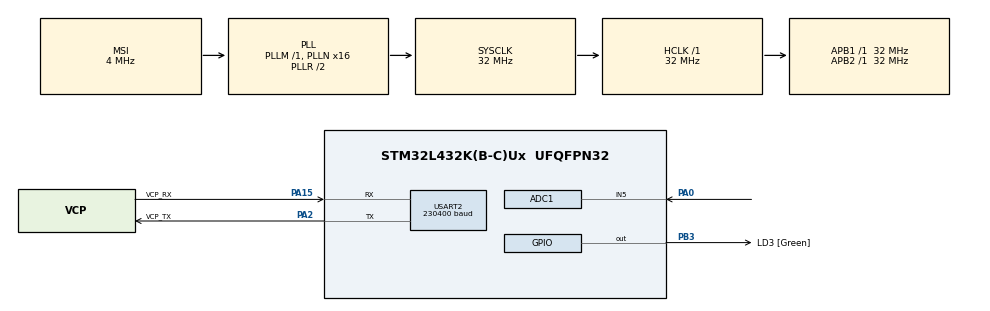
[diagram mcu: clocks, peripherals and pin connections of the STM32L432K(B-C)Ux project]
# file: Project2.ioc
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ADC1.Channel-0\#ChannelRegularConversion=ADC_CHANNEL_5
ADC1.NbrOfConversionFlag=1
ADC1.OffsetNumber-0\#ChannelRegularConversion=ADC_OFFSET_NONE
ADC1.Rank-0\#ChannelRegularConversion=1
ADC1.SamplingTime-0\#ChannelRegularConversion=ADC_SAMPLETIME_2CYCLES_5
ADC1.master=1
Mcu.Family=STM32L4
Mcu.Name=STM32L432K(B-C)Ux
Mcu.Package=UFQFPN32
NVIC.PriorityGroup=NVIC_PRIORITYGROUP_4
NVIC.TIM7_IRQn=true\:0\:0\:false\:false\:true\:true\:true\:true
PA0.Signal=ADCx_IN5
PA13\ (JTMS-SWDIO).GPIO_Label=SWDIO
PA13\ (JTMS-SWDIO).Mode=Serial_Wire
PA13\ (JTMS-SWDIO).Signal=SYS_JTMS-SWDIO
PA14\ (JTCK-SWCLK).GPIO_Label=SWCLK
PA14\ (JTCK-SWCLK).Mode=Serial_Wire
PA14\ (JTCK-SWCLK).Signal=SYS_JTCK-SWCLK
PA15\ (JTDI).GPIO_Label=VCP_RX
PA15\ (JTDI).Mode=Asynchronous
PA15\ (JTDI).Signal=USART2_RX
PA2.GPIO_Label=VCP_TX
PA2.Mode=Asynchronous
PA2.Signal=USART2_TX
PB3\ (JTDO-TRACESWO).GPIO_Label=LD3 [Green]
PB3\ (JTDO-TRACESWO).Signal=GPIO_Output
PC14-OSC32_IN\ (PC14).Mode=LSE-External-Oscillator
PC14-OSC32_IN\ (PC14).Signal=RCC_OSC32_IN
PC15-OSC32_OUT\ (PC15).Mode=LSE-External-Oscillator
PC15-OSC32_OUT\ (PC15).Signal=RCC_OSC32_OUT
ProjectManager.HeapSize=0x200
ProjectManager.StackSize=0x400
ProjectManager.TargetToolchain=STM32CubeIDE
RCC.ADCFreq_Value=32000000
RCC.AHBFreq_Value=32000000
RCC.APB1Freq_Value=32000000
RCC.APB1TimFreq_Value=32000000
RCC.APB2Freq_Value=32000000
RCC.APB2TimFreq_Value=32000000
RCC.CortexFreq_Value=32000000
RCC.HCLKFreq_Value=32000000
RCC.HSE_VALUE=8000000
RCC.HSI16_VALUE=16000000
RCC.HSI48_VALUE=48000000
RCC.HSI_VALUE=16000000
RCC.MSI_VALUE=4000000
RCC.PLLMUL=RCC_PLLMUL_4
RCC.PLLN=16
RCC.PLLSAI1N=16
RCC.SYSCLKFreq_VALUE=32000000
RCC.SYSCLKSource=RCC_SYSCLKSOURCE_PLLCLK
RCC.USBFreq_Value=32000000
RCC.VCOOutputFreq_Value=64000000
SH.ADCx_IN5.0=ADC1_IN5,IN5-Single-Ended
TIM7.Period=100 - 1
TIM7.Prescaler=32 - 1
USART2.BaudRate=230400
USART2.VirtualMode-Asynchronous=VM_ASYNC
VP_TIM7_VS_ClockSourceINT.Mode=Enable_Timer
board=NUCLEO-L432KC

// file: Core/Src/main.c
/* USER CODE BEGIN Header */
/**
  ******************************************************************************
  * @file           : main.c
  * @brief          : Main program body
  ******************************************************************************
  * @attention
  *
  * Copyright (c) 2025 STMicroelectronics.
  * All rights reserved.
  *
  * This software is licensed under terms that can be found in the LICENSE file
  * in the root directory of this software component.
  * If no LICENSE file comes with this software, it is provided AS-IS.
  *
  ******************************************************************************
  */
/* USER CODE END Header */
#include "main.h"

/* USER CODE BEGIN Includes */
#include <stdio.h>
#include <string.h>
/* USER CODE END Includes */

ADC_HandleTypeDef hadc1;

TIM_HandleTypeDef htim7;

UART_HandleTypeDef huart2;

/* USER CODE BEGIN PV */
uint16_t raw_ADC_value = 0 ;
uint8_t  raw_ADC_value_1[2] = {0} ;
uint16_t temp = 0;
char string_1[40] = "\0" ;
int flag = 0 ;
char buffer[4] = {0};  // Ensure buffer has space for "RUN" + null terminator
/* USER CODE END PV */

void SystemClock_Config(void);
static void MX_GPIO_Init(void);
static void MX_USART2_UART_Init(void);
static void MX_ADC1_Init(void);
static void MX_TIM7_Init(void);

int main(void)
{

  /* MCU Configuration--------------------------------------------------------*/

  /* Reset of all peripherals, Initializes the Flash interface and the Systick. */
  HAL_Init();

  /* Configure the system clock */
  SystemClock_Config();

  /* Initialize all configured peripherals */
  MX_GPIO_Init();
  MX_USART2_UART_Init();
  MX_ADC1_Init();
  MX_TIM7_Init();
  /* USER CODE BEGIN 2 */
  HAL_TIM_Base_Start_IT(&htim7) ;
  /* USER CODE END 2 */

  /* Infinite loop */
  /* USER CODE BEGIN WHILE */
  while (1)
  {
	  memset(buffer, 0, sizeof(buffer));
	  HAL_UART_Receive(&huart2, (uint8_t*)buffer, 3, HAL_MAX_DELAY);

	  if (strncmp(buffer, "RUN", 3) == 0) {
		flag = 1 ;
	  }

		// Check for "STP" without blocking
	  uint8_t tempBuf[4] = {0};
	  if (HAL_UART_Receive(&huart2, tempBuf, 3, 10) == HAL_OK) {
		  if (strncmp((char*)tempBuf, "STP", 3) == 0) {
			  flag = 0 ;
		  }
	  }
    /* USER CODE END WHILE */

  }
}

void SystemClock_Config(void)
{
  RCC_OscInitTypeDef RCC_OscInitStruct = {0};
  RCC_ClkInitTypeDef RCC_ClkInitStruct = {0};

  /** Configure the main internal regulator output voltage
  */
  if (HAL_PWREx_ControlVoltageScaling(PWR_REGULATOR_VOLTAGE_SCALE1) != HAL_OK)
  {
    Error_Handler();
  }

  /** Configure LSE Drive Capability
  */
  HAL_PWR_EnableBkUpAccess();
  __HAL_RCC_LSEDRIVE_CONFIG(RCC_LSEDRIVE_LOW);

  /** Initializes the RCC Oscillators according to the specified parameters
  * in the RCC_OscInitTypeDef structure.
  */
  RCC_OscInitStruct.OscillatorType = RCC_OSCILLATORTYPE_LSE|RCC_OSCILLATORTYPE_MSI;
  RCC_OscInitStruct.LSEState = RCC_LSE_ON;
  RCC_OscInitStruct.MSIState = RCC_MSI_ON;
  RCC_OscInitStruct.MSICalibrationValue = 0;
  RCC_OscInitStruct.MSIClockRange = RCC_MSIRANGE_6;
  RCC_OscInitStruct.PLL.PLLState = RCC_PLL_ON;
  RCC_OscInitStruct.PLL.PLLSource = RCC_PLLSOURCE_MSI;
  RCC_OscInitStruct.PLL.PLLM = 1;
  RCC_OscInitStruct.PLL.PLLN = 16;
  RCC_OscInitStruct.PLL.PLLP = RCC_PLLP_DIV7;
  RCC_OscInitStruct.PLL.PLLQ = RCC_PLLQ_DIV2;
  RCC_OscInitStruct.PLL.PLLR = RCC_PLLR_DIV2;
  if (HAL_RCC_OscConfig(&RCC_OscInitStruct) != HAL_OK)
  {
    Error_Handler();
  }

  /** Initializes the CPU, AHB and APB buses clocks
  */
  RCC_ClkInitStruct.ClockType = RCC_CLOCKTYPE_HCLK|RCC_CLOCKTYPE_SYSCLK
                              |RCC_CLOCKTYPE_PCLK1|RCC_CLOCKTYPE_PCLK2;
  RCC_ClkInitStruct.SYSCLKSource = RCC_SYSCLKSOURCE_PLLCLK;
  RCC_ClkInitStruct.AHBCLKDivider = RCC_SYSCLK_DIV1;
  RCC_ClkInitStruct.APB1CLKDivider = RCC_HCLK_DIV1;
  RCC_ClkInitStruct.APB2CLKDivider = RCC_HCLK_DIV1;

  if (HAL_RCC_ClockConfig(&RCC_ClkInitStruct, FLASH_LATENCY_1) != HAL_OK)
  {
    Error_Handler();
  }

  /** Enable MSI Auto calibration
  */
  HAL_RCCEx_EnableMSIPLLMode();
}

static void MX_ADC1_Init(void)
{

  ADC_ChannelConfTypeDef sConfig = {0};

  /** Common config
  */
  hadc1.Instance = ADC1;
  hadc1.Init.ClockPrescaler = ADC_CLOCK_ASYNC_DIV1;
  hadc1.Init.Resolution = ADC_RESOLUTION_12B;
  hadc1.Init.DataAlign = ADC_DATAALIGN_RIGHT;
  hadc1.Init.ScanConvMode = ADC_SCAN_DISABLE;
  hadc1.Init.EOCSelection = ADC_EOC_SINGLE_CONV;
  hadc1.Init.LowPowerAutoWait = DISABLE;
  hadc1.Init.ContinuousConvMode = DISABLE;
  hadc1.Init.NbrOfConversion = 1;
  hadc1.Init.DiscontinuousConvMode = DISABLE;
  hadc1.Init.ExternalTrigConv = ADC_SOFTWARE_START;
  hadc1.Init.ExternalTrigConvEdge = ADC_EXTERNALTRIGCONVEDGE_NONE;
  hadc1.Init.DMAContinuousRequests = DISABLE;
  hadc1.Init.Overrun = ADC_OVR_DATA_PRESERVED;
  hadc1.Init.OversamplingMode = DISABLE;
  if (HAL_ADC_Init(&hadc1) != HAL_OK)
  {
    Error_Handler();
  }

  /** Configure Regular Channel
  */
  sConfig.Channel = ADC_CHANNEL_5;
  sConfig.Rank = ADC_REGULAR_RANK_1;
  sConfig.SamplingTime = ADC_SAMPLETIME_2CYCLES_5;
  sConfig.SingleDiff = ADC_SINGLE_ENDED;
  sConfig.OffsetNumber = ADC_OFFSET_NONE;
  sConfig.Offset = 0;
  if (HAL_ADC_ConfigChannel(&hadc1, &sConfig) != HAL_OK)
  {
    Error_Handler();
  }

}

static void MX_TIM7_Init(void)
{

  TIM_MasterConfigTypeDef sMasterConfig = {0};

  htim7.Instance = TIM7;
  htim7.Init.Prescaler = 32 - 1;
  htim7.Init.CounterMode = TIM_COUNTERMODE_UP;
  htim7.Init.Period = 100 - 1;
  htim7.Init.AutoReloadPreload = TIM_AUTORELOAD_PRELOAD_DISABLE;
  if (HAL_TIM_Base_Init(&htim7) != HAL_OK)
  {
    Error_Handler();
  }
  sMasterConfig.MasterOutputTrigger = TIM_TRGO_RESET;
  sMasterConfig.MasterSlaveMode = TIM_MASTERSLAVEMODE_DISABLE;
  if (HAL_TIMEx_MasterConfigSynchronization(&htim7, &sMasterConfig) != HAL_OK)
  {
    Error_Handler();
  }

}

static void MX_USART2_UART_Init(void)
{

  huart2.Instance = USART2;
  huart2.Init.BaudRate = 230400;
  huart2.Init.WordLength = UART_WORDLENGTH_8B;
  huart2.Init.StopBits = UART_STOPBITS_1;
  huart2.Init.Parity = UART_PARITY_NONE;
  huart2.Init.Mode = UART_MODE_TX_RX;
  huart2.Init.HwFlowCtl = UART_HWCONTROL_NONE;
  huart2.Init.OverSampling = UART_OVERSAMPLING_16;
  huart2.Init.OneBitSampling = UART_ONE_BIT_SAMPLE_DISABLE;
  huart2.AdvancedInit.AdvFeatureInit = UART_ADVFEATURE_NO_INIT;
  if (HAL_UART_Init(&huart2) != HAL_OK)
  {
    Error_Handler();
  }

}

static void MX_GPIO_Init(void)
{
  GPIO_InitTypeDef GPIO_InitStruct = {0};

  /* GPIO Ports Clock Enable */
  __HAL_RCC_GPIOC_CLK_ENABLE();
  __HAL_RCC_GPIOA_CLK_ENABLE();
  __HAL_RCC_GPIOB_CLK_ENABLE();

  /*Configure GPIO pin Output Level */
  HAL_GPIO_WritePin(LD3_GPIO_Port, LD3_Pin, GPIO_PIN_RESET);

  /*Configure GPIO pin : LD3_Pin */
  GPIO_InitStruct.Pin = LD3_Pin;
  GPIO_InitStruct.Mode = GPIO_MODE_OUTPUT_PP;
  GPIO_InitStruct.Pull = GPIO_NOPULL;
  GPIO_InitStruct.Speed = GPIO_SPEED_FREQ_LOW;
  HAL_GPIO_Init(LD3_GPIO_Port, &GPIO_InitStruct);

}

/* USER CODE BEGIN 4 */
void HAL_TIM_PeriodElapsedCallback (TIM_HandleTypeDef* htim)
{
	if ((htim == &htim7) && (flag == 1))
//	if (htim == &htim7)
	{
		HAL_ADC_Start(&hadc1) ;
		HAL_ADC_PollForConversion(&hadc1, 10) ;
		raw_ADC_value = HAL_ADC_GetValue(&hadc1) ;
		sprintf(string_1, "= %d\n", raw_ADC_value) ;
		HAL_UART_Transmit(&huart2, (uint8_t*)string_1, strlen(string_1), 10) ;
		HAL_ADC_Stop(&hadc1) ;
	}
}
/* USER CODE END 4 */

void Error_Handler(void)
{
  __disable_irq();
  while (1)
  {
  }
}
